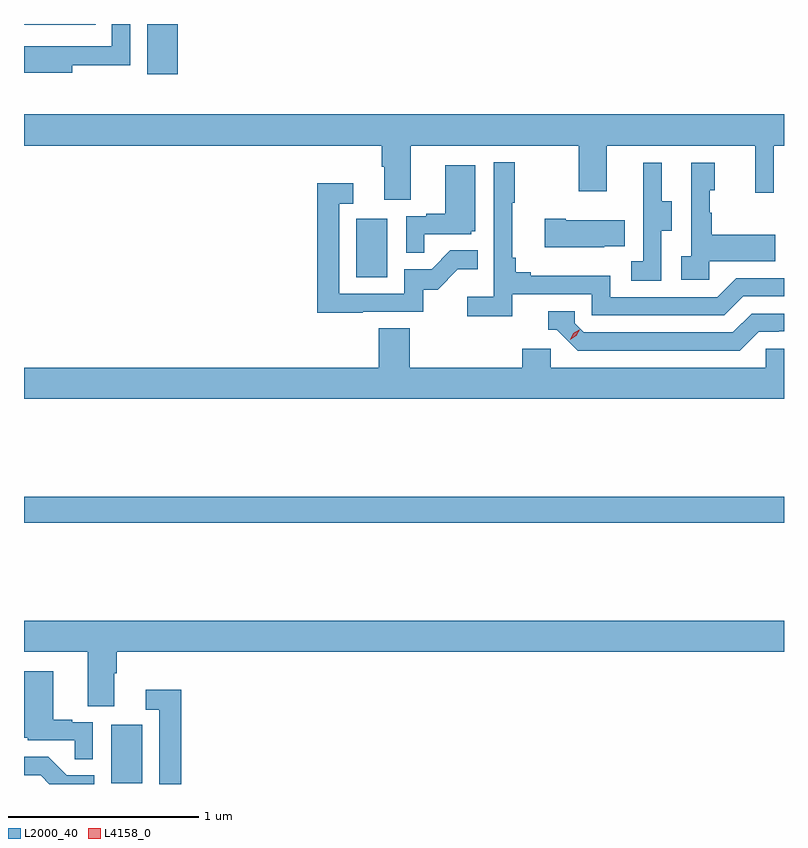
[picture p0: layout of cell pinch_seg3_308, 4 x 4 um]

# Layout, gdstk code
import gdstk
lib = gdstk.Library(unit=1e-6, precision=1e-09)
def R(c, l, rs):  # rectangles x0, y0, x1, y1
    for r in rs: c.add(gdstk.rectangle(r[:2], r[2:], *l))
def P(c, l, *ps):  # polygons
    for p in ps: c.add(gdstk.Polygon(p, *l))
L2000_40 = (2000, 40)
L4158_0 = (4158, 0)

pinch_seg3_308 = lib.new_cell('pinch_seg3_308')
R(pinch_seg3_308, L2000_40, [(962.564,712.212,962.728,712.519), (962.105,713.584,966.105,713.72), (963.854,714.876,964.018,715.183), (962.753,715.944,962.914,716.208), (962.105,716.205,962.482,716.208)])
P(pinch_seg3_308, L2000_40, [(962.359,715.99),(962.664,715.99),(962.664,716.208),(962.568,716.208),(962.568,716.091),(962.255,716.091),(962.255,716.092),(962.105,716.092),(962.105,715.952),(962.359,715.952)],
  [(964.141,715.568),(965.026,715.568),(965.026,715.329),(965.173,715.329),(965.173,715.568),(965.954,715.568),(965.954,715.32),(966.051,715.32),(966.051,715.568),(966.105,715.568),(966.105,715.732),(962.105,715.732),(962.105,715.568),(963.989,715.568),(963.989,715.456),(964.001,715.456),(964.001,715.282),(964.141,715.282)],
  [(964.676,714.786),(965.094,714.786),(965.094,714.675),(965.791,714.675),(965.89,714.774),(966.105,714.774),(966.105,714.87),(965.853,714.87),(965.754,714.771),(965.19,714.771),(965.19,714.883),(964.771,714.883),(964.771,714.902),(964.694,714.902),(964.694,714.979),(964.675,714.979),(964.675,715.267),(964.687,715.267),(964.687,715.48),(964.578,715.48),(964.578,714.772),(964.437,714.772),(964.437,714.67),(964.676,714.67)],
  [(965.46,715.12),(965.515,715.12),(965.515,715.275),(965.461,715.275),(965.461,715.477),(965.363,715.477),(965.363,715.263),(965.364,715.263),(965.364,714.959),(965.301,714.959),(965.301,714.856),(965.46,714.856)],
  [(965.712,714.959),(966.059,714.959),(966.059,715.099),(965.725,715.099),(965.725,715.214),(965.715,715.214),(965.715,715.332),(965.74,715.332),(965.74,715.477),(965.616,715.477),(965.616,714.986),(965.565,714.986),(965.565,714.861),(965.712,714.861)],
  [(964.211,715.101),(964.458,715.101),(964.458,715.116),(964.48,715.116),(964.48,715.465),(964.322,715.465),(964.322,715.21),(964.223,715.21),(964.223,715.197),(964.116,715.197),(964.116,715.003),(964.211,715.003)],
  [(963.887,714.693),(964.206,714.693),(964.206,714.81),(964.282,714.81),(964.389,714.917),(964.493,714.917),(964.493,715.016),(964.349,715.016),(964.251,714.918),(964.107,714.918),(964.107,714.789),(963.765,714.789),(963.765,715.263),(963.838,715.263),(963.838,715.369),(963.649,715.369),(963.649,714.688),(963.887,714.688)],
  [(965.159,715.037),(965.267,715.037),(965.267,715.174),(964.957,715.174),(964.957,715.182),(964.845,715.182),(964.845,715.034),(965.159,715.034)],
  [(965.971,714.588),(966.078,714.588),(966.078,714.591),(966.105,714.591),(966.105,714.684),(965.934,714.684),(965.835,714.585),(965.052,714.585),(965.004,714.633),(965.004,714.696),(964.865,714.696),(964.865,714.6),(964.908,714.6),(965.019,714.489),(965.872,714.489)],
  [(966.105,714.498),(966.009,714.498),(966.009,714.4),(964.878,714.4),(964.878,714.498),(964.727,714.498),(964.727,714.4),(964.136,714.4),(964.136,714.608),(963.971,714.608),(963.971,714.4),(962.105,714.4),(962.105,714.236),(966.105,714.236)],
  [(962.581,712.792),(962.594,712.792),(962.594,712.904),(966.105,712.904),(966.105,713.068),(962.105,713.068),(962.105,712.904),(962.441,712.904),(962.441,712.618),(962.581,712.618)],
  [(962.466,712.533),(962.36,712.533),(962.36,712.546),(962.26,712.546),(962.26,712.801),(962.105,712.801),(962.105,712.452),(962.124,712.452),(962.124,712.437),(962.371,712.437),(962.371,712.339),(962.466,712.339)],
  [(962.933,712.705),(962.745,712.705),(962.745,712.599),(962.817,712.599),(962.817,712.208),(962.933,712.208)],
  [(962.475,712.254),(962.331,712.254),(962.233,712.352),(962.105,712.352),(962.105,712.253),(962.193,712.253),(962.238,712.208),(962.475,712.208)])
P(pinch_seg3_308, L4158_0, [(964.98,714.547),(964.98,714.547),(964.997,714.58),(965.028,714.599),(965.029,714.599),(965.029,714.598),(965.012,714.566),(964.981,714.547)])

lib.write_gds('pinch_seg3_308.gds')
